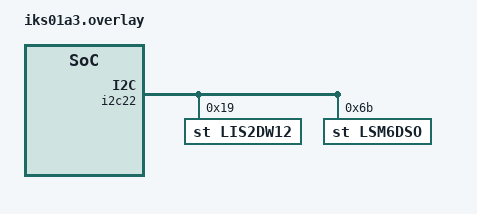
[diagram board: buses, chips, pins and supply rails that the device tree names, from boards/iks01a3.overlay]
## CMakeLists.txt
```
#
# Copyright (c) 2025 Edge Impulse
#
cmake_minimum_required(VERSION 3.20.0)

set(EXTRA_CONF_FILE
        ./ei-model/conf_overlay.conf
)

# Select the sensor board (X-NUCLEO-IKS01A3 or IKS02A1, wired directly, not as a
# shield). Must be set before find_package(Zephyr) so the devicetree overlay is used.
if(USE_IKS01A3)
    message(STATUS "Using IKS01A3")
    set(EI_SENSOR_DIR src/sensors/iks01a3)
    list(APPEND EXTRA_DTC_OVERLAY_FILE ${CMAKE_CURRENT_SOURCE_DIR}/boards/iks01a3.overlay)
else()
    message(STATUS "Using IKS02A1")
    set(EI_SENSOR_DIR src/sensors/iks02a1)
    list(APPEND EXTRA_DTC_OVERLAY_FILE ${CMAKE_CURRENT_SOURCE_DIR}/boards/iks02a1.overlay)
endif()

find_package(Zephyr REQUIRED HINTS $ENV{ZEPHYR_BASE})
project("firmware-nordic-nrf54lm20-dk"
          VERSION 0.1)

# Needed for colorful output
zephyr_compile_options(-fdiagnostics-color=always)
zephyr_compile_options(-Wno-narrowing)

# Use hardware acceleration for DSP and Neural Network code
# You'll need to disable these on non-Arm cores
add_definitions(-DEIDSP_USE_CMSIS_DSP=1
                -DEIDSP_LOAD_CMSIS_DSP_SOURCES=1
                -DEI_CLASSIFIER_TFLITE_ENABLE_CMSIS_NN=1
                -DEIDSP_QUANTIZE_FILTERBANK=0
                -DARM_MATH_LOOPUNROLL
                -DMBEDTLS_PLATFORM_ZEROIZE_ALT
                )

# Add all required source files
add_subdirectory(ei-model/edge-impulse-sdk/cmake/zephyr)
add_subdirectory(firmware-sdk)
add_subdirectory(src/inference)
add_subdirectory(src/sensors)
add_subdirectory(src)

target_sources(app PRIVATE
    ${EI_SENSOR_DIR}/ei_accelerometer.cpp
    ${EI_SENSOR_DIR}/ei_inertial.cpp)

# Include directories (everything in the SDK is already included here)
target_include_directories(app PRIVATE .)
target_include_directories(app PRIVATE ei-model)
zephyr_include_directories(ei-model/nordic-axon-model)

#
# model name is specified through kConfig. However for automated builds the
# environment variable AXON_MODEL_NAME can override kConfig.
#
if (DEFINED ENV{NRF_AXON_MODEL_NAME})
    message(STATUS "NRF_AXON_MODEL_NAME DEFINED $ENV{NRF_AXON_MODEL_NAME}, OVERRIDES CONFIG_NRF_AXON_MODEL_NAME ${CONFIG_NRF_AXON_MODEL_NAME}")
    zephyr_compile_definitions(
        NRF_AXON_MODEL_NAME=$ENV{NRF_AXON_MODEL_NAME}
    )
else()
    message(STATUS "NRF_AXON_MODEL_NAME NOT DEFINED, USING CONFIG_NRF_AXON_MODEL_NAME ${CONFIG_NRF_AXON_MODEL_NAME}")
    zephyr_compile_definitions(
        NRF_AXON_MODEL_NAME=${CONFIG_NRF_AXON_MODEL_NAME}
    )
endif()
```

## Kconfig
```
#
# Copyright (c) 2024 Edge Impulse
#

source "Kconfig.zephyr"

menu "Edge Impulse nRF54LM20DK example"

config EI_INFERENCE_THREAD_STACK
    int "Inference thread stack size"
    default 256
    help
      "Set the Edge Impulse inference thread stack size."

config EI_INFERENCE_THREAD_PRIO
    int "Inference thread priority"
    default 5
    help
      "Set the Edge Impulse inference thread priority. The lower number, the higher prority."

source "subsys/logging/Kconfig.template.log_config"

endmenu
```

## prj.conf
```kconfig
#
# Copyright (c) 2024 Edge Impulse
#
################################################################################
# Application configuration
CONFIG_GPIO=y

# Enable c++ support
CONFIG_CPP=y
CONFIG_STD_CPP11=y
CONFIG_GLIBCXX_LIBCPP=y
CONFIG_NEWLIB_LIBC=y
CONFIG_NEWLIB_LIBC_FLOAT_PRINTF=y
CONFIG_NEWLIB_LIBC_NANO=n

#CONFIG_NRF_AXON_ML_SOURCE_INTERNAL_FULL=n
CONFIG_NRF_AXON=y

CONFIG_NRF_AXON_INTERLAYER_BUFFER_SIZE=120000

# set to 0 for models that don't use psum buffer
CONFIG_NRF_AXON_PSUM_BUFFER_SIZE=0

# Enable reboot from user space
CONFIG_REBOOT=y

# Enable floating point unit
CONFIG_FPU=y

CONFIG_MAIN_STACK_SIZE=4096
CONFIG_SYSTEM_WORKQUEUE_STACK_SIZE=4096
CONFIG_EI_INFERENCE_THREAD_STACK=4096
CONFIG_HEAP_MEM_POOL_SIZE=100000

# Serial console
CONFIG_UART_INTERRUPT_DRIVEN=y
CONFIG_CONSOLE_SUBSYS=n

CONFIG_DK_LIBRARY=n
# Using built-in sensor
CONFIG_SENSOR=y

# I2C configuration for accelerometer
CONFIG_I2C=y
CONFIG_I2C_NRFX=y
#CONFIG_I2C_LOG_LEVEL_DBG=y
#CONFIG_SENSOR_LOG_LEVEL_DBG=y

CONFIG_ASSERT=y
#CONFIG_DEBUG=y
#CONFIG_LOG=y
#CONFIG_LOG_MODE_DEFERRED=y
#CONFIG_USE_SEGGER_RTT=y
#CONFIG_LOG_BACKEND_RTT=y
#CONFIG_LOG_BACKEND_UART=y

# Configure Segger RTT
CONFIG_SEGGER_RTT_BUFFER_SIZE_UP=4096

# Configure bluetooth
CONFIG_BT=y

CONFIG_SETTINGS=y
CONFIG_CJSON_LIB=y

# External Flash memory
# CONFIG_SPI=y
# CONFIG_FLASH=y
# CONFIG_SPI_NOR=y
# CONFIG_SPI_NOR_SFDP_DEVICETREE=y
# CONFIG_SPI_NOR_FLASH_LAYOUT_PAGE_SIZE=4096
# CONFIG_NORDIC_QSPI_NOR=n

# CONFIG_PM_DEVICE=y
# CONFIG_FLASH_PAGE_LAYOUT=y
# CONFIG_MPU_ALLOW_FLASH_WRITE=y
# CONFIG_PM_PARTITION=y
# CONFIG_PM_EXTERNAL_FLASH_MCUBOOT_SECONDARY=n

# CONFIG_NVS=y

# CONFIG_STREAM_FLASH=y
# CONFIG_FLASH_MAP=y
# CONFIG_SETTINGS_NVS=y

# CONFIG_BOOTLOADER_MCUBOOT=y

CONFIG_ZCBOR=y
CONFIG_ZCBOR_STOP_ON_ERROR=y

# Enable mcumgr DFU in application
# CONFIG_MCUMGR=y

# Enable MCUMGR management for both OS and Images
# CONFIG_MCUMGR_GRP_OS=y
# CONFIG_MCUMGR_GRP_IMG=y
# CONFIG_NET_BUF=y
# CONFIG_CRC=y
# CONFIG_IMG_MANAGER=y
# CONFIG_STREAM_FLASH=y

# NEW - to test
CONFIG_REQUIRES_FULL_LIBCPP=y
CONFIG_CBPRINTF_FP_SUPPORT=y
CONFIG_PRINTK=y
CONFIG_PRINTK_SYNC=y

CONFIG_HWINFO=y
```

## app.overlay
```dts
/*
 * Copyright (c) 2026 EdgeImpulse Inc.
 *
 * Licensed under the Apache License, Version 2.0 (the "License");
 * you may not use this file except in compliance with the License.
 * You may obtain a copy of the License at
 * http://www.apache.org/licenses/LICENSE-2.0
 *
 * Unless required by applicable law or agreed to in writing,
 * software distributed under the License is distributed on an "AS
 * IS" BASIS, WITHOUT WARRANTIES OR CONDITIONS OF ANY KIND, either
 * express or implied. See the License for the specific language
 * governing permissions and limitations under the License.
 *
 * SPDX-License-Identifier: Apache-2.0
 */

// &i2c1 {
//     clock-frequency = <I2C_BITRATE_FAST>;
// };

&mx25r64 {
    status = "okay";
};

/ {
    chosen {
        nordic,pm-ext-flash = &mx25r64;
    };
};

// &clock {
//     hfclkaudio-frequency = <12288000>;
// };
```

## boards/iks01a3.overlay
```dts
/*
 * X-NUCLEO-IKS01A3 sensors wired directly to i2c22 (not used as a shield).
 *
 * SPDX-License-Identifier: Apache-2.0
 */

&i2c22 {
    lis2dw12: lis2dw12@19 {
        compatible = "st,lis2dw12";
        status = "okay";
        reg = < 0x19 >;
    };
    lsm6dso: lsm6dso@6b {
        compatible = "st,lsm6dso";
        status = "okay";
        reg = < 0x6b >;
    };
};
```

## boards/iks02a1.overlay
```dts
/*
 * X-NUCLEO-IKS02A1 sensors wired directly to i2c22 (not used as a shield).
 *
 * SPDX-License-Identifier: Apache-2.0
 */

&i2c22 {
    iis2dlpc: iis2dlpc@19 {
        compatible = "st,iis2dlpc";
        status = "okay";
        reg = < 0x19 >;
    };
    ism330dhcx: ism330dhcx@6b {
        compatible = "st,ism330dhcx";
        status = "okay";
        reg = < 0x6b >;
    };
};
```

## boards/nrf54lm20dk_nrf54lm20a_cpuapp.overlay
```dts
/*
 * Copyright (c) 2023 Nordic Semiconductor ASA
 *
 * SPDX-License-Identifier: Apache-2.0
 */

&i2c22 {
    status = "okay";
    pinctrl-0 = <&i2c22_default>;
    pinctrl-1 = <&i2c22_sleep>;
    pinctrl-names = "default", "sleep";
};

&pinctrl {
    /omit-if-no-ref/ i2c22_default: i2c22_default {
        group1  {
            psels = <NRF_PSEL(TWIM_SCL, 1, 11)>,
                    <NRF_PSEL(TWIM_SDA, 1, 12)>;
            bias-pull-up;
        };
    };

    /omit-if-no-ref/ i2c22_sleep: i2c22_sleep {
        group1  {
            psels = <NRF_PSEL(TWIM_SCL, 1, 11)>,
                    <NRF_PSEL(TWIM_SDA, 1, 12)>;
            bias-pull-up;
            low-power-enable;
        };
    };
};

&mx25r64 {
    status = "okay";
};

/ {

    chosen {
        nordic,pm-ext-flash = &mx25r64;
    };

	// specify axon profiling gpio
	axon_profiling_gpios {
		compatible = "gpio-leds"; // profiling gpio acts just like an led.
		axon_profiling_gpio0: axon_profiling_gpio_0 {
			gpios = <&gpio1 15 GPIO_ACTIVE_HIGH>;
			label = "Axon Profiling GPIO 0";
		};
	};
	aliases {
		axonprofilinggpio0 = &axon_profiling_gpio0;
	};
};

// Include Axons
&global_peripherals {
	axon: axon@56000 {
		compatible = "nordic,axon";
		reg = <0x56000 0x1000>;
		interrupts = <86 NRF_DEFAULT_IRQ_PRIORITY>;
		status = "okay";
	};
};
```

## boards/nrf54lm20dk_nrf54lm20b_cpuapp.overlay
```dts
/*
 * Copyright (c) 2023 Nordic Semiconductor ASA
 *
 * SPDX-License-Identifier: Apache-2.0
 */

&i2c22 {
    status = "okay";
    pinctrl-0 = <&i2c22_default>;
    pinctrl-1 = <&i2c22_sleep>;
    pinctrl-names = "default", "sleep";
};

&pinctrl {
    /omit-if-no-ref/ i2c22_default: i2c22_default {
        group1  {
            psels = <NRF_PSEL(TWIM_SCL, 1, 11)>,
                    <NRF_PSEL(TWIM_SDA, 1, 12)>;
            bias-pull-up;
        };
    };

    /omit-if-no-ref/ i2c22_sleep: i2c22_sleep {
        group1  {
            psels = <NRF_PSEL(TWIM_SCL, 1, 11)>,
                    <NRF_PSEL(TWIM_SDA, 1, 12)>;
            bias-pull-up;
            low-power-enable;
        };
    };
};

&mx25r64 {
    status = "okay";
};

/ {

    chosen {
        nordic,pm-ext-flash = &mx25r64;
    };

	// specify axon profiling gpio
	axon_profiling_gpios {
		compatible = "gpio-leds"; // profiling gpio acts just like an led.
		axon_profiling_gpio0: axon_profiling_gpio_0 {
			gpios = <&gpio1 15 GPIO_ACTIVE_HIGH>;
			label = "Axon Profiling GPIO 0";
		};
	};
	aliases {
		axonprofilinggpio0 = &axon_profiling_gpio0;
	};
};

// Include Axons
&axon {
	status = "okay";
};
```

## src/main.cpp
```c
/*
 * Copyright (c) 2026 EdgeImpulse Inc.
 *
 * Licensed under the Apache License, Version 2.0 (the "License");
 * you may not use this file except in compliance with the License.
 * You may obtain a copy of the License at
 * http://www.apache.org/licenses/LICENSE-2.0
 *
 * Unless required by applicable law or agreed to in writing,
 * software distributed under the License is distributed on an "AS
 * IS" BASIS, WITHOUT WARRANTIES OR CONDITIONS OF ANY KIND, either
 * express or implied. See the License for the specific language
 * governing permissions and limitations under the License.
 *
 * SPDX-License-Identifier: Apache-2.0
 */

#include "ei_at_handlers.h"
#include "ei_device_nordic.h"
#include "edge-impulse-sdk/porting/ei_classifier_porting.h"
#include "inference/ei_run_impulse.h"
#include "sensors/ei_inertial.h"
#include "sensors/ei_accelerometer.h"
#include <zephyr/drivers/gpio.h>
#include <zephyr/drivers/uart.h>
#include <zephyr/logging/log.h>
#include <nrfx_clock.h>
#include <zephyr/kernel.h>
//#include <zephyr/bluetooth/bluetooth.h>

#define LOG_MODULE_NAME main
LOG_MODULE_REGISTER(LOG_MODULE_NAME);

static const struct gpio_dt_spec led0 = GPIO_DT_SPEC_GET(DT_ALIAS(led0), gpios);

int main(void)
{
    EiDeviceNRF *dev = static_cast<EiDeviceNRF*>(EiDeviceInfo::get_device());
    ATServer *at;
    int err = 0;

    /* output of printf is output immediately without buffering */
    setvbuf(stdout, NULL, _IONBF, 0);

    /* Initialize board uart */
    if(uart_init() != 0) {
        LOG_ERR("Init uart on board error occured\r\n");
    }

    at = ei_at_init();

    /* Setup the inertial sensor */
    if(ei_inertial_init() == false) {
        LOG_ERR("[ERR] Can't init inertial sensor");
        if(gpio_is_ready_dt(&led0) && gpio_pin_configure_dt(&led0, GPIO_OUTPUT_ACTIVE) == 0) {
            gpio_pin_set_dt(&led0, 1);
        }
    }

    /* Setup the accelerometer sensor */
    if(ei_accelerometer_init() == false) {
        LOG_ERR("[ERR] Can't init accelerometer sensor");
        if(gpio_is_ready_dt(&led0) && gpio_pin_configure_dt(&led0, GPIO_OUTPUT_ACTIVE) == 0) {
            gpio_pin_set_dt(&led0, 1);
        }
    }

    ei_printf("Hello from Edge Impulse\r\n"
              "Compiled on %s %s\r\n", __DATE__, __TIME__);

    at->print_prompt();
    LOG_INF("Entering infinite loop\n");
    dev->init_device_id();
    while(1) {
        char data = uart_getchar();

        while(data != 0xFF) {
            if(is_inference_running() && data == 'b') {
                ei_stop_impulse();
                at->print_prompt();
                continue;
            }
            dev->set_serial_channel(UART);
            at->handle(data);
            data = uart_getchar();
        }
        ei_sleep(1);
    }
}
```

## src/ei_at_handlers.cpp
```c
/*
 * Copyright (c) 2026 EdgeImpulse Inc.
 *
 * Licensed under the Apache License, Version 2.0 (the "License");
 * you may not use this file except in compliance with the License.
 * You may obtain a copy of the License at
 * http://www.apache.org/licenses/LICENSE-2.0
 *
 * Unless required by applicable law or agreed to in writing,
 * software distributed under the License is distributed on an "AS
 * IS" BASIS, WITHOUT WARRANTIES OR CONDITIONS OF ANY KIND, either
 * express or implied. See the License for the specific language
 * governing permissions and limitations under the License.
 *
 * SPDX-License-Identifier: Apache-2.0
 */

#include "ei_at_handlers.h"
#include "ei_device_nordic.h"
#include "ei_base64_encode.h"
#include "inference/ei_run_impulse.h"
#include "edge-impulse-sdk/porting/ei_classifier_porting.h"
#include "firmware-sdk/at-server/ei_at_command_set.h"
#include "firmware-sdk/at-server/ei_at_server.h"
#include "firmware-sdk/ei_device_info_lib.h"
#include "firmware-sdk/ei_fusion.h"
#include "firmware-sdk/at_base64_lib.h"
#include "firmware-sdk/ei_device_lib.h"
#include "firmware-sdk/ei_device_interface.h"
#include <zephyr/logging/log.h>
#include <zephyr/kernel.h>
#include <string>

LOG_MODULE_REGISTER(at_handlers, LOG_LEVEL_DBG);

using namespace std;

static EiDeviceNRF *dev;

#define TRANSFER_BUF_LEN 32

inline bool check_args_num(const int &required, const int &received)
{
    if(received < required) {
        ei_printf("Too few arguments! Required: %d\n", required);
        return false;
    }

    return true;
}

bool at_get_device_id(void)
{
    ei_printf("%s\n", dev->get_device_id().c_str());

    return true;
}

bool at_set_device_id(const char **argv, const int argc)
{
    if(argc < 1) {
        ei_printf("Missing argument!\n");
        return true;
    }

    dev->set_device_id(argv[0]);

    ei_printf("OK\n");

    return true;
}

bool at_get_upload_host(void)
{
    ei_printf("%s\n", dev->get_upload_host().c_str());

    return true;
}

bool at_set_upload_host(const char **argv, const int argc)
{
    if(argc < 1) {
        ei_printf("Missing argument!\n");
        return true;
    }

    dev->set_upload_host(argv[0]);

    ei_printf("OK\n");

    return true;
}

bool at_get_upload_settings(void)
{
    ei_printf("Api Key:   %s\n", dev->get_upload_api_key().c_str());
    ei_printf("Host:      %s\n", dev->get_upload_host().c_str());
    ei_printf("Path:      %s\n", dev->get_upload_path().c_str());

    return true;
}

bool at_set_upload_settings(const char **argv, const int argc)
{
    if(argc < 2) {
        ei_printf("Missing argument! Required: " AT_UPLOADSETTINGS_ARGS "\n");
        return true;
    }

    //TODO: can we set these values to ""?
    dev->set_upload_api_key(argv[0]);
    dev->set_upload_path(argv[1]);

    ei_printf("OK\n");

    return true;
}

bool at_get_mgmt_url(void)
{
    ei_printf("%s\n", dev->get_management_url().c_str());

    return true;
}

bool at_set_mgmt_url(const char **argv, const int argc)
{
    if(argc < 1) {
        ei_printf("Missing argument!\n");
        return true;
    }

    dev->set_management_url(argv[0]);

    ei_printf("OK\n");

    return true;
}

bool at_get_sample_settings(void)
{
    ei_printf("Label:     %s\n", dev->get_sample_label().c_str());
    ei_printf("Interval:  %.2f ms.\n", dev->get_sample_interval_ms());
    ei_printf("Length:    %lu ms.\n", dev->get_sample_length_ms());
    ei_printf("HMAC key:  %s\n", dev->get_sample_hmac_key().c_str());

    return true;
}

bool at_set_sample_settings(const char **argv, const int argc)
{
    if(argc < 3) {
        ei_printf("Missing argument! Required: " AT_SAMPLESETTINGS_ARGS "\n");
        return true;
    }

    dev->set_sample_label(argv[0]);

    //TODO: sanity check and/or exception handling
    string interval_ms_str(argv[1]);
    dev->set_sample_interval_ms(stof(interval_ms_str));

    //TODO: sanity check and/or exception handling
    string sample_length_str(argv[2]);
    dev->set_sample_length_ms(stoi(sample_length_str));

    if(argc >= 4) {
        dev->set_sample_hmac_key(argv[3]);
    }

    ei_printf("OK\n");

    return true;
}

bool at_clear_config(void)
{
    dev->clear_config();
    dev->init_device_id();
#ifdef CONFIG_WIFI_NRF700X
    if(cmd_wifi_connected()) {
        ei_ws_client_stop();
        cmd_wifi_disconnect();
    }
#endif
    return true;
}

bool at_unlink_file(const char **argv, const int argc)
{
    ei_printf("\n");

    return true;
}

bool at_read_buffer(const char **argv, const int argc)
{
    if(argc < 2) {
        ei_printf("Missing argument! Required: " AT_READBUFFER_ARGS "\n");
        return true;
    }

    size_t start = (size_t)atoi(argv[0]);
    size_t length = (size_t)atoi(argv[1]);

    dev->set_state(eiStateUploading);

    bool use_max_baudrate = false;
    if (argc >= 3 && argv[2][0] == 'y') {
       use_max_baudrate = true;
    }

    if (use_max_baudrate) {
        ei_printf("OK\r\n");
        ei_sleep(100);
        dev->set_max_data_output_baudrate();
        ei_sleep(100);
    }

    bool success = read_encode_send(start, length);

    if (use_max_baudrate) {
        ei_printf("\r\nOK\r\n");
        ei_sleep(100);
        dev->set_default_data_output_baudrate();
        ei_sleep(100);
    }

    if (!success) {
        ei_printf("ERR: Failed to read from buffer\n");
        dev->set_state(eiStateIdle);
    }
    else {
        ei_printf("\n");
        dev->set_state(eiStateFinished);
    }

    return true;
}

bool at_sample_start(const char **argv, const int argc)
{
    EiDeviceNRF *dev = static_cast<EiDeviceNRF*>(EiDeviceInfo::get_device());
    dev->set_serial_channel(UART);
    if(argc < 1) {
        ei_printf("Missing sensor name!\n");
        return true;
    }

    const ei_device_sensor_t *sensor_list;
    size_t sensor_list_size;

    dev->get_sensor_list((const ei_device_sensor_t **)&sensor_list, &sensor_list_size);

    for (size_t ix = 0; ix < sensor_list_size; ix++) {
        if (strcmp(sensor_list[ix].name, argv[0]) == 0) {
            if (!sensor_list[ix].start_sampling_cb()) {
                ei_printf("ERR: Failed to start sampling\n");
                dev->set_state(eiStateIdle);
            }
            else {
                dev->set_state(eiStateFinished);
            }
            return true;
        }
    }

    if (ei_connect_fusion_list(argv[0], SENSOR_FORMAT)) {
        if (!ei_fusion_setup_data_sampling()) {
            ei_printf("ERR: Failed to start sensor fusion sampling\n");
            dev->set_state(eiStateIdle);
        }
        else {
            dev->set_state(eiStateFinished);
        }
    }
    else {
        ei_printf("ERR: Failed to find sensor '%s' in the sensor list\n", argv[0]);
    }

    return true;
}

bool at_run_impulse(void)
{
    EiDeviceNRF *dev = static_cast<EiDeviceNRF*>(EiDeviceInfo::get_device());
    dev->set_serial_channel(UART);
    ei_start_impulse(false, false);

    return false;
}

bool at_run_impulse_cont(void)
{
    EiDeviceNRF *dev = static_cast<EiDeviceNRF*>(EiDeviceInfo::get_device());
    dev->set_serial_channel(UART);
    ei_start_impulse(true, false);

    return false;
}

bool at_run_impulse_static_data(const char **argv, const int argc)
{
    EiDeviceNRF *dev = static_cast<EiDeviceNRF*>(EiDeviceInfo::get_device());
    dev->set_serial_channel(UART);
    if (check_args_num(2, argc) == false) {
        return false;
    }

    bool debug = (argv[0][0] == 'y');
    size_t length = (size_t)atoi(argv[1]);

    bool res = run_impulse_static_data(debug, length, TRANSFER_BUF_LEN);

    return res;
}

bool at_stop_impulse(void)
{
    EiDeviceNRF *dev = static_cast<EiDeviceNRF*>(EiDeviceInfo::get_device());
    dev->set_serial_channel(UART);
    ei_stop_impulse();

    return true;
}

#ifdef CONFIG_WIFI_NRF700X
bool at_scan_wifi(void)
{
    cmd_wifi_scan();
    cmd_wifi_scan_done();

    return true;
}

bool at_set_wifi(const char **argv, const int argc)
{
    LOG_DBG("set WiFi\n");

    char *endptr;
    int idx = 1;
    static const char* password = NULL;
    unsigned int security = 0;

    if (argc < 1) {
        return -EINVAL;
    }

    /* PSK (optional) */
    if (idx < argc) {
        password = argv[idx];
        idx++;

        if (idx < argc) {
            security = strtol(argv[idx], &endptr, 10);
        }
    } else {
        password = NULL;
        security = 0;
    }

    cmd_wifi_connect(argv[0], password, security);
    //waithing to connect to wifi
    if(cmd_wifi_connecting() < 0) {
        ei_printf("ERR: Failed to connect to WiFi\n");
        return false;
    }
    //waitinhg to connect to dhcp
    if(cmd_dhcp_configured() < 0) {
        ei_printf("ERR: Failed to configure DHCP\n");
        return false;
    }
    ei_ws_client_start(dev, nullptr);
    ei_sleep(100);
    ei_printf("OK\n");

    return true;
}

bool at_get_wifi(void)
{
    char ssid[128] = { 0 };
    char password[128] = { 0 };
    int security = 0;

    dev->get_wifi_config(ssid, password, &security);

    ei_printf("Present:   1\n");
    ei_printf("SSID:      %s\n", ssid);
    ei_printf("Password:  %s\n", password);
    ei_printf("Security:  %d\n", security);
    ei_printf("MAC:       %s\n", dev->get_mac_address().c_str());
    ei_printf("Connected: %d\n", cmd_wifi_connected());

    return true;
}
#endif

bool at_get_config(void)
{
    const ei_device_sensor_t *sensor_list;
    size_t sensor_list_size;

    dev->get_sensor_list((const ei_device_sensor_t **)&sensor_list, &sensor_list_size);

    ei_printf("===== Device info =====\n");
    ei_printf("ID:         %s\n", dev->get_device_id().c_str());
    ei_printf("Type:       %s\n", dev->get_device_type().c_str());
    ei_printf("AT Version: " AT_COMMAND_VERSION "\n");
    ei_printf("Data Transfer Baudrate: %lu\n", dev->get_data_output_baudrate());
    ei_printf("\n");
    ei_printf("===== Sensors ======\n");
    for (size_t ix = 0; ix < sensor_list_size; ix++) {
        ei_printf("Name: %s, Max sample length: %hus, Frequencies: [", sensor_list[ix].name, sensor_list[ix].max_sample_length_s);
        for (size_t fx = 0; fx < EI_MAX_FREQUENCIES; fx++) {
            if (sensor_list[ix].frequencies[fx] != 0.0f) {
                if (fx != 0) {
                    ei_printf(", ");
                }
                ei_printf("%.2fHz", sensor_list[ix].frequencies[fx]);
            }
        }
        ei_printf("]\n");
    }
    ei_built_sensor_fusion_list();
    ei_printf("\n");
    ei_printf("===== WIFI =====\n");
#ifdef CONFIG_WIFI_NRF700X
    at_get_wifi();
#else
    ei_printf("Present:   %d\n", false);
    ei_printf("SSID:      %s\n", "");
    ei_printf("Password:  %s\n", "");
    ei_printf("Security:  %d\n", false);
    ei_printf("MAC:       %s\n", dev->get_mac_address().c_str());
    ei_printf("Connected: %d\n", false);
#endif
    ei_printf("\n");
    ei_printf("===== Sampling parameters =====\n");
    ei_printf("Label:     %s\n", dev->get_sample_label().c_str());
    ei_printf("Interval:  %.2f ms.\n", dev->get_sample_interval_ms());
    ei_printf("Length:    %lu ms.\n", dev->get_sample_length_ms());
    ei_printf("HMAC key:  %s\n", dev->get_sample_hmac_key().c_str());
    ei_printf("\n");
    ei_printf("===== Upload settings =====\n");
    ei_printf("Api Key:   %s\n", dev->get_upload_api_key().c_str());
    ei_printf("Host:      %s\n", dev->get_upload_host().c_str());
    ei_printf("Path:      %s\n", dev->get_upload_path().c_str());
    ei_printf("\n");
    ei_printf("===== Remote management =====\n");
    ei_printf("URL:        %s\n", dev->get_management_url().c_str());
#ifdef CONFIG_WIFI_NRF700X
    bool connected = ei_ws_get_connection_status();
#else
    bool connected = false;
#endif
    ei_printf("Connected: %d\n", connected);
    ei_printf("Last error: \n");
    ei_printf("\n");

    return true;
}

ATServer *ei_at_init(void)
{
    ATServer *at;
    dev = static_cast<EiDeviceNRF*>(EiDeviceInfo::get_device());

    at = ATServer::get_instance();

    at->register_command(AT_DEVICEID, AT_DEVICEID_HELP_TEXT, nullptr, at_get_device_id, at_set_device_id, AT_DEVICEID_ARGS);
    at->register_command(AT_UPLOADHOST, AT_UPLOADHOST_HELP_TEXT, nullptr, at_get_upload_host, at_set_upload_host, AT_UPLOADHOST_ARGS);
    at->register_command(AT_UPLOADSETTINGS, AT_UPLOADSETTINGS_HELP_TEXT, nullptr, at_get_upload_settings, at_set_upload_settings, AT_UPLOADSETTINGS_ARGS);
    at->register_command(AT_MGMTSETTINGS, AT_MGMTSETTINGS_HELP_TEXT, nullptr, at_get_mgmt_url, at_set_mgmt_url, AT_MGMTSETTINGS_ARGS);
    at->register_command(AT_SAMPLESETTINGS, AT_SAMPLESETTINGS_HELP_TEXT, nullptr, at_get_sample_settings, at_set_sample_settings, AT_SAMPLESETTINGS_ARGS);
    at->register_command(AT_CLEARCONFIG, AT_CLEARCONFIG_HELP_TEXT, at_clear_config, nullptr, nullptr, nullptr);
    at->register_command(AT_UNLINKFILE, AT_UNLINKFILE_HELP_TEXT, nullptr, nullptr, at_unlink_file, AT_UNLINKFILE_ARGS);
    at->register_command(AT_READBUFFER, AT_READBUFFER_HELP_TEXT, nullptr, nullptr, at_read_buffer, AT_READBUFFER_ARGS);
    at->register_command(AT_SAMPLESTART, AT_SAMPLESTART_HELP_TEXT, nullptr, nullptr, at_sample_start, AT_SAMPLESTART_ARGS);
    at->register_command(AT_CONFIG, AT_CONFIG_HELP_TEXT, nullptr, at_get_config, nullptr, nullptr);
    at->register_command(AT_RUNIMPULSE, AT_RUNIMPULSE_HELP_TEXT, at_run_impulse, nullptr, nullptr, nullptr);
    at->register_command(AT_RUNIMPULSECONT, AT_RUNIMPULSECONT_HELP_TEXT, at_run_impulse_cont, nullptr, nullptr, nullptr);
    at->register_command("STOPIMPULSE", "", at_stop_impulse, nullptr, nullptr, nullptr);
    at->register_command(AT_RUNIMPULSESTATIC, AT_RUNIMPULSESTATIC_HELP_TEXT, nullptr, nullptr, at_run_impulse_static_data, AT_RUNIMPULSESTATIC_ARGS);
#ifdef CONFIG_WIFI_NRF700X
    at->register_command(AT_WIFI, AT_WIFI_HELP_TEXT, nullptr, &at_get_wifi, &at_set_wifi, AT_WIFI_ARGS);
    at->register_command(AT_SCANWIFI, AT_SCANWIFI_HELP_TEXT, &at_scan_wifi, nullptr, nullptr, nullptr);
#endif

    return at;
}
```

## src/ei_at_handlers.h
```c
/*
 * Copyright (c) 2026 EdgeImpulse Inc.
 *
 * Licensed under the Apache License, Version 2.0 (the "License");
 * you may not use this file except in compliance with the License.
 * You may obtain a copy of the License at
 * http://www.apache.org/licenses/LICENSE-2.0
 *
 * Unless required by applicable law or agreed to in writing,
 * software distributed under the License is distributed on an "AS
 * IS" BASIS, WITHOUT WARRANTIES OR CONDITIONS OF ANY KIND, either
 * express or implied. See the License for the specific language
 * governing permissions and limitations under the License.
 *
 * SPDX-License-Identifier: Apache-2.0
 */

#ifndef EI_AT_HANDLERS_H
#define EI_AT_HANDLERS_H

#include "firmware-sdk/at-server/ei_at_server.h"

ATServer *ei_at_init(void);

#endif /* EI_AT_HANDLERS_H */
```

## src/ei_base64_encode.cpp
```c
/*
 * Copyright (c) 2026 EdgeImpulse Inc.
 *
 * Licensed under the Apache License, Version 2.0 (the "License");
 * you may not use this file except in compliance with the License.
 * You may obtain a copy of the License at
 * http://www.apache.org/licenses/LICENSE-2.0
 *
 * Unless required by applicable law or agreed to in writing,
 * software distributed under the License is distributed on an "AS
 * IS" BASIS, WITHOUT WARRANTIES OR CONDITIONS OF ANY KIND, either
 * express or implied. See the License for the specific language
 * governing permissions and limitations under the License.
 *
 * SPDX-License-Identifier: Apache-2.0
 */

/* Include ----------------------------------------------------------------- */
#include "edge-impulse-sdk/porting/ei_classifier_porting.h"
#include "firmware-sdk/ei_device_info_lib.h"
#include "firmware-sdk/ei_device_memory.h"
#include "firmware-sdk/at_base64_lib.h"
#include "ei_device_nordic.h"
#include <zephyr/logging/log.h>
#include <zephyr/drivers/uart.h>
#include <zephyr/kernel.h>
#include <cmath>

LOG_MODULE_REGISTER(base64, LOG_LEVEL_DBG);

bool read_encode_send(size_t address, size_t length)
{
    EiDeviceInfo *dev = EiDeviceInfo::get_device();
    EiDeviceMemory *memory = dev->get_memory();
    // we are encoiding data into base64, so it needs to be divisible by 3
    const int buffer_size = 513;
    uint8_t* buffer = (uint8_t*)ei_malloc(buffer_size);
    if(buffer == nullptr) {
        LOG_ERR("Unable to allocate base64 encoder buffer");
        return false;
    }

    while (1) {
        LOG_DBG("Reading %d bytes from %d", length, address);
        size_t bytes_to_read = buffer_size;

        if (bytes_to_read > length) {
            bytes_to_read = length;
        }

        if (bytes_to_read == 0) {
            ei_free(buffer);
            return true;
        }

        if (memory->read_sample_data(buffer, address, bytes_to_read) != bytes_to_read) {
            ei_free(buffer);
            LOG_ERR("Failed to read samples memory");
            return false;
        }

        base64_encode((char *)buffer, bytes_to_read, ei_putchar);

        address += bytes_to_read;
        length -= bytes_to_read;
    }

    ei_free(buffer);
    return true;
}
```

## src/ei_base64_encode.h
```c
/*
 * Copyright (c) 2026 EdgeImpulse Inc.
 *
 * Licensed under the Apache License, Version 2.0 (the "License");
 * you may not use this file except in compliance with the License.
 * You may obtain a copy of the License at
 * http://www.apache.org/licenses/LICENSE-2.0
 *
 * Unless required by applicable law or agreed to in writing,
 * software distributed under the License is distributed on an "AS
 * IS" BASIS, WITHOUT WARRANTIES OR CONDITIONS OF ANY KIND, either
 * express or implied. See the License for the specific language
 * governing permissions and limitations under the License.
 *
 * SPDX-License-Identifier: Apache-2.0
 */

#ifndef EI_BASE64_ENCODE_H
#define EI_BASE64_ENCODE_H

#include <cstdlib>

/* Function prototypes ----------------------------------------------------- */
bool read_encode_send(size_t address, size_t length);

#endif /* EI_BASE64_ENCODE_H */
```

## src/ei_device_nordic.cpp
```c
/*
 * Copyright (c) 2026 EdgeImpulse Inc.
 *
 * Licensed under the Apache License, Version 2.0 (the "License");
 * you may not use this file except in compliance with the License.
 * You may obtain a copy of the License at
 * http://www.apache.org/licenses/LICENSE-2.0
 *
 * Unless required by applicable law or agreed to in writing,
 * software distributed under the License is distributed on an "AS
 * IS" BASIS, WITHOUT WARRANTIES OR CONDITIONS OF ANY KIND, either
 * express or implied. See the License for the specific language
 * governing permissions and limitations under the License.
 *
 * SPDX-License-Identifier: Apache-2.0
 */

/* Include ----------------------------------------------------------------- */
#include <zephyr/kernel.h>
#include <zephyr/drivers/gpio.h>
#include <zephyr/drivers/uart.h>
#include <zephyr/drivers/hwinfo.h>
#include <zephyr/bluetooth/addr.h>
#include <zephyr/bluetooth/bluetooth.h>
#include "ei_device_nordic.h"
#include "ei_at_handlers.h"
#include "edge-impulse-sdk/porting/ei_classifier_porting.h"
#include "edge-impulse-sdk/dsp/ei_utils.h"
#include "firmware-sdk/ei_device_memory.h"

#include <zephyr/logging/log.h>
LOG_MODULE_REGISTER(ei_device_nordic, LOG_LEVEL_DBG);

/* The devicetree node identifier for the "led1" alias. */
#define LED1_NODE DT_ALIAS(led1)

static const struct gpio_dt_spec led = GPIO_DT_SPEC_GET(LED1_NODE, gpios);

using namespace std;

static void led_timer_handler(struct k_timer *dummy);
static void led_work_handler(struct k_work *work);
static void sampler_timer_handler(struct k_timer *dummy);
static void sampler_work_handler(struct k_work *work);

K_TIMER_DEFINE(led_timer, led_timer_handler, NULL);
K_WORK_DEFINE(led_work, led_work_handler);
K_TIMER_DEFINE(sampler_timer, sampler_timer_handler, NULL);
K_WORK_DEFINE(sampler_work, sampler_work_handler);

void set_max_data_output_baudrate_c(void);
void set_default_data_output_baudrate_c(void);

const struct device *uart;

static void led_work_handler(struct k_work *work)
{
    EiDeviceNRF *dev = static_cast<EiDeviceNRF*>(EiDeviceInfo::get_device());
    EiState state =dev->get_state();
    static uint8_t animation = 0;
    static uint8_t blink;

    switch(state)
    {
        case eiStateErasingFlash:
            gpio_pin_set_dt(&led, blink++ % 2);
            break;
        case eiStateSampling:
            gpio_pin_set_dt(&led, blink++ % 2);
            break;
        case eiStateUploading:
            gpio_pin_set_dt(&led, blink++ % 2);
            break;
        case eiStateFinished:
            blink = 0;
            if(animation == 0) {
                animation = 10;
            }
            break;
        default:
            break;
    }

    if(animation == 0) {
        return;
    }

    switch(animation) {
        case 10:
            gpio_pin_set_dt(&led, 0);
            break;
        case 9:
            gpio_pin_set_dt(&led, 1);
            break;
        case 8:
            gpio_pin_set_dt(&led, 0);
            break;
        case 7:
            gpio_pin_set_dt(&led, 1);
            break;
        case 6:
            gpio_pin_set_dt(&led, 0);
            break;
        case 5:
            gpio_pin_set_dt(&led, 1);
            break;
        case 4:
            gpio_pin_set_dt(&led, 0);
            break;
        case 3:
            gpio_pin_set_dt(&led, 1);
            break;
        case 2:
            gpio_pin_set_dt(&led, 0);
            break;
        case 1:
            dev->set_state(eiStateIdle);
            break;
    }
    animation--;
}

static void led_timer_handler(struct k_timer *dummy)
{
    k_work_submit(&led_work);
}

static void sampler_timer_handler(struct k_timer *dummy)
{
    k_work_submit(&sampler_work);
}

static void sampler_work_handler(struct k_work *work)
{
    EiDeviceNRF *dev = static_cast<EiDeviceNRF*>(EiDeviceInfo::get_device());

#if MULTI_FREQ_ENABLED == 1

    if (dev->get_fusioning() == 1) {
        dev->sample_read_callback();
    }
    else {
        uint8_t flag = 0;
        uint8_t i = 0;

        // update actual time
        dev->actual_timer += dev->get_sample_interval();

        for (i = 0; i < dev->get_fusioning(); i++){
            if (((uint32_t)(dev->actual_timer % (uint32_t)dev->multi_sample_interval.at(i))) == 0) {   /* check if period of sensor is a multiple of actual time*/
                flag |= (1<<i);                                                                     /* if so, time to sample it! */
            }
        }

        if (dev->sample_multi_read_callback != nullptr){
            dev->sample_multi_read_callback(flag);
        }

    }

#else
    dev->sample_read_callback();
#endif
}

EiDeviceInfo* EiDeviceInfo::get_device(void)
{
    static EiDeviceRAM<1024,80> memory(sizeof(EiConfig));
    static EiDeviceNRF dev(&memory);

    return &dev;
}

EiDeviceNRF::EiDeviceNRF(EiDeviceMemory* mem)
{
    EiDeviceInfo::memory = mem;

    load_config();

    int ret = 0;

    if (!gpio_is_ready_dt(&led)) {
        ei_printf("Error: LED GPIO port DT_ALIAS(led1) not available\n");
        LOG_ERR("Cannot init LEDs (err: %d)", ret);
    }

    ret = gpio_pin_configure_dt(&led, GPIO_OUTPUT_INACTIVE);
    if (ret < 0) {
        ei_printf("Error: LED GPIO port DT_ALIAS(led1) not available\n");
        LOG_ERR("Cannot configure LED (err: %d)", ret);
    }

    device_type = "NRF_NRF54LM20_DK";
}

EiDeviceNRF::~EiDeviceNRF()
{

}

void EiDeviceNRF::init_device_id(void)
{
    bt_addr_le_t addr;
    size_t id_count = 1;
    char temp[18];

    bt_id_get(&addr, &id_count);

    snprintf(temp, 18, "%02X:%02X:%02X:%02X:%02X:%02X",
        addr.a.val[5], addr.a.val[4], addr.a.val[3],
        addr.a.val[2], addr.a.val[1], addr.a.val[0]);

    mac_address = string(temp);

    // device ID comes from the unique MCU ID (FICR DEVICEID)
    uint8_t id[8];
    char id_str[3 * sizeof(id)];

    ssize_t len = hwinfo_get_device_id(id, sizeof(id));
    if (len > 0) {
        char *p = id_str;
        for (ssize_t i = 0; i < len; i++) {
            p += snprintf(p, id_str + sizeof(id_str) - p, i ? ":%02X" : "%02X", id[i]);
        }
        device_id = string(id_str);
    }
    else {
        LOG_ERR("hwinfo_get_device_id failed (err: %d), using MAC", (int)len);
        device_id = string(temp);
    }

    LOG_INF("Setting ID = %s", device_id.c_str());
    save_config();
}

void EiDeviceNRF::clear_config(void)
{
    EiDeviceInfo::clear_config();

    init_device_id();
    save_config();
}

string EiDeviceNRF::get_mac_address(void)
{
    return mac_address;
}

bool EiDeviceNRF::start_sample_thread(void (*sample_read_cb)(void), float sample_interval_ms)
{    
    this->sample_read_callback = sample_read_cb;
#if MULTI_FREQ_ENABLED == 1
    this->actual_timer = 0;
    this->fusioning = 1;
#endif

    k_timer_start(&sampler_timer, K_MSEC(sample_interval_ms), K_MSEC(sample_interval_ms));

    return true;
}

bool EiDeviceNRF::stop_sample_thread(void)
{
    k_timer_stop(&sampler_timer);

#if MULTI_FREQ_ENABLED == 1
    this->actual_timer = 0;
    this->fusioning = 0;
#endif

    return true;
}

#if MULTI_FREQ_ENABLED == 1
bool EiDeviceNRF::start_multi_sample_thread(void (*sample_multi_read_cb)(uint8_t), float* multi_sample_interval_ms, uint8_t num_fusioned)
{
    uint8_t i;
    uint8_t flag = 0;

    this->sample_multi_read_callback = sample_multi_read_cb;
    this->fusioning = num_fusioned;

    this->multi_sample_interval.clear();

    for (i = 0; i < num_fusioned; i++){
        this->multi_sample_interval.push_back(1.f/multi_sample_interval_ms[i]*1000.f);
    }

    this->sample_interval = ei_fusion_calc_multi_gcd(this->multi_sample_interval.data(), this->fusioning);

    /* force first reading */
    for (i = 0; i < this->fusioning; i++){
            flag |= (1<<i);
    }
    this->sample_multi_read_callback(flag);

    this->actual_timer = 0;

    k_timer_start(&sampler_timer, K_MSEC(this->sample_interval), K_MSEC(this->sample_interval));

    return true;
}
#endif

void EiDeviceNRF::set_state(EiState state)
{
    this->state = state;

    gpio_pin_set_dt(&led, 0);


    switch(state) {
        case eiStateErasingFlash:
        case eiStateSampling:
        case eiStateUploading:
        case eiStateFinished:
            k_timer_start(&led_timer, K_MSEC(250), K_MSEC(250));
            break;
        case eiStateIdle:
        default:
            k_timer_stop(&led_timer);
            break;
    }
}

EiState EiDeviceNRF::get_state(void)
{
    return this->state;
}

void EiDeviceNRF::set_serial_channel(serial_channel_t chan)
{
    last_channel = chan;
}

serial_channel_t EiDeviceNRF::get_serial_channel(void)
{
    return last_channel;
}

/**
 * @brief      Set output baudrate to max
 *
 */
void EiDeviceNRF::set_max_data_output_baudrate()
{
    set_max_data_output_baudrate_c();
}

/**
 * @brief      Set output baudrate to default
 *
 */
void EiDeviceNRF::set_default_data_output_baudrate()
{
    set_default_data_output_baudrate_c();
}

bool EiDeviceNRF::get_sensor_list(const ei_device_sensor_t **sensor_list, size_t *sensor_list_size)
{
    // no standalone sensors
    *sensor_list = nullptr;
    *sensor_list_size = 0;
    return true;
}

uint32_t EiDeviceNRF::get_data_output_baudrate(void)
{
    return MAX_BAUD;
}


int EiDeviceNRF::set_wifi_config(const char *ssid, const char *password, const int security)
{
    LOG_INF("Setting WiFi config");
    wifi_ssid = (std::string)ssid;
    wifi_password = (std::string)password;
    wifi_security = (EiWiFiSecurity)security;

    LOG_INF("wifi: save_config");
    save_config();

    return 0;
}
int EiDeviceNRF::get_wifi_config(char *ssid, char *password, int *security)
{
    LOG_INF("Getting WiFi config");
    load_config();

    LOG_INF("config loded");
    LOG_INF("wifi_ssdi: %s", wifi_ssid.c_str());
    LOG_INF("wifi_password: %s", wifi_password.c_str());
    LOG_INF("wifi_security: %d", wifi_security);
    strcpy(ssid, wifi_ssid.c_str());
    strcpy(password, wifi_password.c_str());
    *security = wifi_security;

    return 0;
}

/**
 * @brief      Init development kit UART
 *
 * @return     0 If successful
 * @return     -ENXIO If not successful
 *
 */
int uart_init(void)
{
    int err = 0;

    uart = DEVICE_DT_GET(DT_NODELABEL(uart20));
    if (!device_is_ready(uart)) {
        LOG_ERR("UART device not ready");
        ei_printf("UART device not ready\n");
        return -ENXIO;
    }

    return err;
}

/**
 * @brief      Get char from UART
 *
 * @return     rcv_char If successful
 * @return     0xFF If not successful
 *
 */
char uart_getchar(void)
{
    unsigned char rcv_char;

    if (uart_poll_in(uart, &rcv_char) == 0) {
        return rcv_char;
    }
    else{
        return 0xFF;
    }
}

/**
 * @brief      Get char from UART
 *
 * @param[in] send_char Character to be sent over UART
 *
 */
void ei_putchar(char c)
{
    uart_poll_out(uart, c);
}

void set_max_data_output_baudrate_c(void)
{
    struct uart_config cfg;

    //device is not changing baudrate due to USB UART limitations
    // if(uart_config_get(uart, &cfg)) {
    //     LOG_ERR("ERR: can't get UART config!");
    //     ei_printf("ERR: can't get UART config!\n");
    // }

    cfg.baudrate = MAX_BAUD;

    // if(uart_configure(uart, &cfg)) {
    //     LOG_ERR("ERR: can't set UART config!");
    //     ei_printf("ERR: can't set UART config!\n");
    // }
}

void set_default_data_output_baudrate_c(void)
{
    struct uart_config cfg;

    if (uart_config_get(uart, &cfg)) {
        LOG_ERR("ERR: can't get UART config!");
        ei_printf("ERR: can't get UART config!\n");
    }

    cfg.baudrate = DEFAULT_BAUD;

    if (uart_configure(uart, &cfg)) {
        LOG_ERR("ERR: can't set UART config!");
        ei_printf("ERR: can't set UART config!\n");
    }
}
```

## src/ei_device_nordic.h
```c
/*
 * Copyright (c) 2026 EdgeImpulse Inc.
 *
 * Licensed under the Apache License, Version 2.0 (the "License");
 * you may not use this file except in compliance with the License.
 * You may obtain a copy of the License at
 * http://www.apache.org/licenses/LICENSE-2.0
 *
 * Unless required by applicable law or agreed to in writing,
 * software distributed under the License is distributed on an "AS
 * IS" BASIS, WITHOUT WARRANTIES OR CONDITIONS OF ANY KIND, either
 * express or implied. See the License for the specific language
 * governing permissions and limitations under the License.
 *
 * SPDX-License-Identifier: Apache-2.0
 */

#ifndef EI_DEVICE_NORDIC
#define EI_DEVICE_NORDIC

/* Include ----------------------------------------------------------------- */
#include "firmware-sdk/ei_device_info_lib.h"
#include "firmware-sdk/ei_device_memory.h"
#include <cstdint>

#define DEFAULT_BAUD 115200
/* 230400 bps seems to be the highest, the safest and most compatible speed
 * for UART. Tests shown that 460800 is not working on nRF5340DK, while 921600
 * is not working on nRF52840DK.
 * See: https://devzone.nordicsemi.com/f/nordic-q-a/76793/baudrate-on-vcom-on-nrf52840dk */
#define MAX_BAUD 115200

typedef enum {
    UART = 0,
    WIFI
} serial_channel_t;

class EiDeviceNRF : public EiDeviceInfo
{
private:
    std::string mac_address = "00:11:22:33:44:55:66";
    EiState state;
    static const int standalone_sensor_num = 1;
    ei_device_sensor_t standalone_sensor_list[standalone_sensor_num];
    serial_channel_t last_channel;

public:
    EiDeviceNRF(void);
    EiDeviceNRF(EiDeviceMemory* mem);
    ~EiDeviceNRF();

    std::string get_mac_address(void);

    void init_device_id(void);
    void clear_config(void);

    void set_state(EiState state) override;
    EiState get_state(void);

    void set_serial_channel(serial_channel_t chan);
    serial_channel_t get_serial_channel(void);
    void set_default_data_output_baudrate() override;
    void set_max_data_output_baudrate() override;

    bool start_sample_thread(void (*sample_read_cb)(void), float sample_interval_ms) override;
    bool stop_sample_thread(void) override;
    void (*sample_read_callback)(void);

    bool get_sensor_list(const ei_device_sensor_t **sensor_list, size_t *sensor_list_size) override;
    uint32_t get_data_output_baudrate(void) override;

    int set_wifi_config(const char *ssid, const char *password, const int security);
    int get_wifi_config(char *ssid, char *password, int *security);
#if MULTI_FREQ_ENABLED == 1
    bool start_multi_sample_thread(void (*sample_multi_read_cb)(uint8_t), float* multi_sample_interval_ms, uint8_t num_fusioned);
#endif
};

int uart_init(void);
char uart_getchar(void);

#endif /* EI_DEVICE_NORDIC */
```

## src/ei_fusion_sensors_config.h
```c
/*
 * Copyright (c) 2026 EdgeImpulse Inc.
 *
 * Licensed under the Apache License, Version 2.0 (the "License");
 * you may not use this file except in compliance with the License.
 * You may obtain a copy of the License at
 * http://www.apache.org/licenses/LICENSE-2.0
 *
 * Unless required by applicable law or agreed to in writing,
 * software distributed under the License is distributed on an "AS
 * IS" BASIS, WITHOUT WARRANTIES OR CONDITIONS OF ANY KIND, either
 * express or implied. See the License for the specific language
 * governing permissions and limitations under the License.
 *
 * SPDX-License-Identifier: Apache-2.0
 */

#ifndef EI_FUSION_SENSORS_CONFIG_H
#define EI_FUSION_SENSORS_CONFIG_H

#define NUM_MAX_FUSIONS          3      // max number of sensor module combinations

#define MULTI_FREQ_ENABLED       1

/** Format used for fusion */
typedef float fusion_sample_format_t;

#endif // EI_FUSION_SENSORS_CONFIG_H
```

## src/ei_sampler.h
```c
/*
 * Copyright (c) 2026 EdgeImpulse Inc.
 *
 * Licensed under the Apache License, Version 2.0 (the "License");
 * you may not use this file except in compliance with the License.
 * You may obtain a copy of the License at
 * http://www.apache.org/licenses/LICENSE-2.0
 *
 * Unless required by applicable law or agreed to in writing,
 * software distributed under the License is distributed on an "AS
 * IS" BASIS, WITHOUT WARRANTIES OR CONDITIONS OF ANY KIND, either
 * express or implied. See the License for the specific language
 * governing permissions and limitations under the License.
 *
 * SPDX-License-Identifier: Apache-2.0
 */

#ifndef _EI_SAMPLER_H
#define _EI_SAMPLER_H

#include "firmware-sdk/ei_config_types.h"

/* Function prototypes ----------------------------------------------------- */
bool ei_sampler_start_sampling(void *v_ptr_payload, starter_callback ei_sample_start, uint32_t sample_size);
uint32_t ei_sampler_get_data_size(void);

#endif
```

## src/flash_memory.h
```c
/*
 * Copyright (c) 2026 EdgeImpulse Inc.
 *
 * Licensed under the Apache License, Version 2.0 (the "License");
 * you may not use this file except in compliance with the License.
 * You may obtain a copy of the License at
 * http://www.apache.org/licenses/LICENSE-2.0
 *
 * Unless required by applicable law or agreed to in writing,
 * software distributed under the License is distributed on an "AS
 * IS" BASIS, WITHOUT WARRANTIES OR CONDITIONS OF ANY KIND, either
 * express or implied. See the License for the specific language
 * governing permissions and limitations under the License.
 *
 * SPDX-License-Identifier: Apache-2.0
 */

#ifndef EI_FLASH_MEMORY_H
#define EI_FLASH_MEMORY_H

#include "firmware-sdk/ei_device_memory.h"
#include <zephyr/storage/flash_map.h>

class EiFlashMemory : public EiDeviceMemory {
private:
    struct flash_area *ext_flash_area;
protected:
    uint32_t read_data(uint8_t *data, uint32_t address, uint32_t num_bytes);
    uint32_t write_data(const uint8_t *data, uint32_t address, uint32_t num_bytes);
    uint32_t erase_data(uint32_t address, uint32_t num_bytes);

public:
    EiFlashMemory(uint32_t config_size);
};

#endif /* EI_FLASH_MEMORY_H */
```
